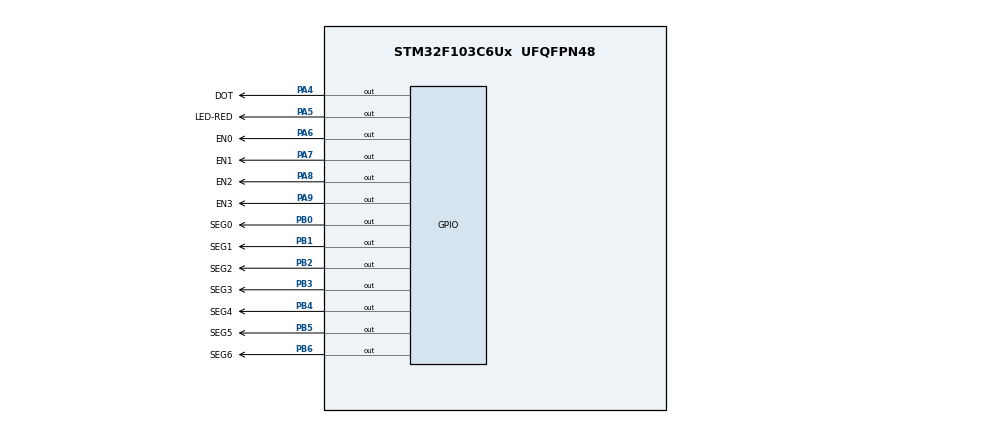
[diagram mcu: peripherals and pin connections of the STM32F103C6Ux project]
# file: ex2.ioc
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Mcu.Family=STM32F1
Mcu.Name=STM32F103C6Ux
Mcu.Package=UFQFPN48
NVIC.PriorityGroup=NVIC_PRIORITYGROUP_4
NVIC.TIM2_IRQn=true\:0\:0\:false\:false\:true\:true\:true
PA4.GPIO_Label=DOT
PA4.Signal=GPIO_Output
PA5.GPIO_Label=LED-RED
PA5.Signal=GPIO_Output
PA6.GPIO_Label=EN0
PA6.Signal=GPIO_Output
PA7.GPIO_Label=EN1
PA7.Signal=GPIO_Output
PA8.GPIO_Label=EN2
PA8.Signal=GPIO_Output
PA9.GPIO_Label=EN3
PA9.Signal=GPIO_Output
PB0.GPIO_Label=SEG0
PB0.Signal=GPIO_Output
PB1.GPIO_Label=SEG1
PB1.Signal=GPIO_Output
PB2.GPIO_Label=SEG2
PB2.Signal=GPIO_Output
PB3.GPIO_Label=SEG3
PB3.Signal=GPIO_Output
PB4.GPIO_Label=SEG4
PB4.Signal=GPIO_Output
PB5.GPIO_Label=SEG5
PB5.Signal=GPIO_Output
PB6.GPIO_Label=SEG6
PB6.Signal=GPIO_Output
ProjectManager.HeapSize=0x200
ProjectManager.StackSize=0x400
ProjectManager.TargetToolchain=STM32CubeIDE
RCC.APB1Freq_Value=8000000
RCC.APB2Freq_Value=8000000
TIM2.Period=9
TIM2.Prescaler=7999
VP_SYS_VS_ND.Mode=No_Debug
VP_TIM2_VS_ClockSourceINT.Mode=Internal
board=custom

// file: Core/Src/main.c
/* USER CODE BEGIN Header */
/**
 ******************************************************************************
 * @file           : main.c
 * @brief          : Main program body
 ******************************************************************************
 * @attention
 *
 * <h2><center>&copy; Copyright (c) 2024 STMicroelectronics.
 * All rights reserved.</center></h2>
 *
 * This software component is licensed by ST under BSD 3-Clause license,
 * the "License"; You may not use this file except in compliance with the
 * License. You may obtain a copy of the License at:
 *                        opensource.org/licenses/BSD-3-Clause
 *
 ******************************************************************************
 */
/* USER CODE END Header */
#include "main.h"

/* USER CODE BEGIN Includes */
#include "software_timer.h"
/* USER CODE END Includes */

TIM_HandleTypeDef htim2;

void SystemClock_Config(void);
static void MX_GPIO_Init(void);
static void MX_TIM2_Init(void);

int main(void) {

	/* MCU Configuration--------------------------------------------------------*/

	/* Reset of all peripherals, Initializes the Flash interface and the Systick. */
	HAL_Init();

	/* Configure the system clock */
	SystemClock_Config();

	/* Initialize all configured peripherals */
	MX_GPIO_Init();
	MX_TIM2_Init();
	/* USER CODE BEGIN 2 */
	HAL_TIM_Base_Start_IT(&htim2);
	/* USER CODE END 2 */

	/* Infinite loop */
	/* USER CODE BEGIN WHILE */
	setTimer1(1);
	setTimer2(1);
//	HAL_GPIO_WritePin(GPIOA, GPIO_PIN_4, SET);
	while (1) {
		/* USER CODE END WHILE */

	}
}

void SystemClock_Config(void) {
	RCC_OscInitTypeDef RCC_OscInitStruct = { 0 };
	RCC_ClkInitTypeDef RCC_ClkInitStruct = { 0 };

	/** Initializes the RCC Oscillators according to the specified parameters
	 * in the RCC_OscInitTypeDef structure.
	 */
	RCC_OscInitStruct.OscillatorType = RCC_OSCILLATORTYPE_HSI;
	RCC_OscInitStruct.HSIState = RCC_HSI_ON;
	RCC_OscInitStruct.HSICalibrationValue = RCC_HSICALIBRATION_DEFAULT;
	RCC_OscInitStruct.PLL.PLLState = RCC_PLL_NONE;
	if (HAL_RCC_OscConfig(&RCC_OscInitStruct) != HAL_OK) {
		Error_Handler();
	}
	/** Initializes the CPU, AHB and APB buses clocks
	 */
	RCC_ClkInitStruct.ClockType = RCC_CLOCKTYPE_HCLK | RCC_CLOCKTYPE_SYSCLK
			| RCC_CLOCKTYPE_PCLK1 | RCC_CLOCKTYPE_PCLK2;
	RCC_ClkInitStruct.SYSCLKSource = RCC_SYSCLKSOURCE_HSI;
	RCC_ClkInitStruct.AHBCLKDivider = RCC_SYSCLK_DIV1;
	RCC_ClkInitStruct.APB1CLKDivider = RCC_HCLK_DIV1;
	RCC_ClkInitStruct.APB2CLKDivider = RCC_HCLK_DIV1;

	if (HAL_RCC_ClockConfig(&RCC_ClkInitStruct, FLASH_LATENCY_0) != HAL_OK) {
		Error_Handler();
	}
}

static void MX_TIM2_Init(void) {

	TIM_ClockConfigTypeDef sClockSourceConfig = { 0 };
	TIM_MasterConfigTypeDef sMasterConfig = { 0 };

	htim2.Instance = TIM2;
	htim2.Init.Prescaler = 7999;
	htim2.Init.CounterMode = TIM_COUNTERMODE_UP;
	htim2.Init.Period = 9;
	htim2.Init.ClockDivision = TIM_CLOCKDIVISION_DIV1;
	htim2.Init.AutoReloadPreload = TIM_AUTORELOAD_PRELOAD_DISABLE;
	if (HAL_TIM_Base_Init(&htim2) != HAL_OK) {
		Error_Handler();
	}
	sClockSourceConfig.ClockSource = TIM_CLOCKSOURCE_INTERNAL;
	if (HAL_TIM_ConfigClockSource(&htim2, &sClockSourceConfig) != HAL_OK) {
		Error_Handler();
	}
	sMasterConfig.MasterOutputTrigger = TIM_TRGO_RESET;
	sMasterConfig.MasterSlaveMode = TIM_MASTERSLAVEMODE_DISABLE;
	if (HAL_TIMEx_MasterConfigSynchronization(&htim2, &sMasterConfig)
			!= HAL_OK) {
		Error_Handler();
	}

}

static void MX_GPIO_Init(void) {
	GPIO_InitTypeDef GPIO_InitStruct = { 0 };

	/* GPIO Ports Clock Enable */
	__HAL_RCC_GPIOA_CLK_ENABLE();
	__HAL_RCC_GPIOB_CLK_ENABLE();

	/*Configure GPIO pin Output Level */
	HAL_GPIO_WritePin(GPIOA,
	DOT_Pin | LED_RED_Pin | EN0_Pin | EN1_Pin | EN2_Pin | EN3_Pin,
			GPIO_PIN_RESET);

	/*Configure GPIO pin Output Level */
	HAL_GPIO_WritePin(GPIOB,
	SEG0_Pin | SEG1_Pin | SEG2_Pin | SEG3_Pin | SEG4_Pin | SEG5_Pin | SEG6_Pin,
			GPIO_PIN_RESET);

	/*Configure GPIO pins : DOT_Pin LED_RED_Pin EN0_Pin EN1_Pin
	 EN2_Pin EN3_Pin */
	GPIO_InitStruct.Pin = DOT_Pin | LED_RED_Pin | EN0_Pin | EN1_Pin | EN2_Pin
			| EN3_Pin;
	GPIO_InitStruct.Mode = GPIO_MODE_OUTPUT_PP;
	GPIO_InitStruct.Pull = GPIO_NOPULL;
	GPIO_InitStruct.Speed = GPIO_SPEED_FREQ_LOW;
	HAL_GPIO_Init(GPIOA, &GPIO_InitStruct);

	/*Configure GPIO pins : SEG0_Pin SEG1_Pin SEG2_Pin SEG3_Pin
	 SEG4_Pin SEG5_Pin SEG6_Pin */
	GPIO_InitStruct.Pin = SEG0_Pin | SEG1_Pin | SEG2_Pin | SEG3_Pin | SEG4_Pin
			| SEG5_Pin | SEG6_Pin;
	GPIO_InitStruct.Mode = GPIO_MODE_OUTPUT_PP;
	GPIO_InitStruct.Pull = GPIO_NOPULL;
	GPIO_InitStruct.Speed = GPIO_SPEED_FREQ_LOW;
	HAL_GPIO_Init(GPIOB, &GPIO_InitStruct);

}

/* USER CODE BEGIN 4 */
int status = 0;
int DOTstate = 0;
void HAL_TIM_PeriodElapsedCallback(TIM_HandleTypeDef *htim) {
	if (timer1_flag == 1) {
		if (status == 0) {
			HAL_GPIO_WritePin(GPIOA, GPIO_PIN_6, RESET);
			HAL_GPIO_WritePin(GPIOA, GPIO_PIN_7, SET);
			HAL_GPIO_WritePin(GPIOA, GPIO_PIN_8, SET);
			HAL_GPIO_WritePin(GPIOA, GPIO_PIN_9, SET);
			display7SEG(1);
		}
		if (status == 1) {
			HAL_GPIO_WritePin(GPIOA, GPIO_PIN_6, SET);
			HAL_GPIO_WritePin(GPIOA, GPIO_PIN_7, RESET);
			HAL_GPIO_WritePin(GPIOA, GPIO_PIN_8, SET);
			HAL_GPIO_WritePin(GPIOA, GPIO_PIN_9, SET);
			display7SEG(2);
		}
		if (status == 2) {
			HAL_GPIO_WritePin(GPIOA, GPIO_PIN_6, SET);
			HAL_GPIO_WritePin(GPIOA, GPIO_PIN_7, SET);
			HAL_GPIO_WritePin(GPIOA, GPIO_PIN_8, RESET);
			HAL_GPIO_WritePin(GPIOA, GPIO_PIN_9, SET);
			display7SEG(3);
		}
		if (status == 3) {
			HAL_GPIO_WritePin(GPIOA, GPIO_PIN_6, SET);
			HAL_GPIO_WritePin(GPIOA, GPIO_PIN_7, SET);
			HAL_GPIO_WritePin(GPIOA, GPIO_PIN_8, SET);
			HAL_GPIO_WritePin(GPIOA, GPIO_PIN_9, RESET);
			display7SEG(0);
		}

		status = (1 + status) % 4;

		setTimer1(50);
	}
	if (timer2_flag == 1) {
		if (DOTstate == 0) {
			HAL_GPIO_WritePin(GPIOA, GPIO_PIN_4, SET);
		} else {
			HAL_GPIO_WritePin(GPIOA, GPIO_PIN_4, RESET);
		}
		DOTstate = 1 - DOTstate;
		setTimer2(100);
	}
	timerRun();
}
/* USER CODE END 4 */

void Error_Handler(void) {
	__disable_irq();
	while (1) {
	}
}

/************************ (C) COPYRIGHT STMicroelectronics *****END OF FILE****/
